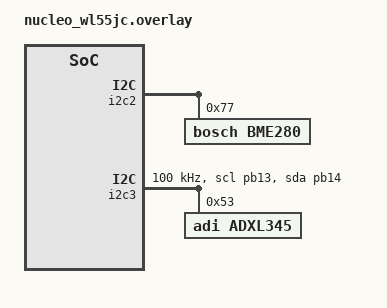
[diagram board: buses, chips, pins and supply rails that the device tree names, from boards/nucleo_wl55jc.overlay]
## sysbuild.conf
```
# Sysbuild configuration file for FUOTA with sensors

# Enable MCUboot
SB_CONFIG_BOOTLOADER_MCUBOOT=y

# Configure key type
SB_CONFIG_BOOT_SIGNATURE_TYPE_ECDSA_P256=y

# Enable multi-image mode for FUOTA (slot0 and slot1)
SB_CONFIG_MCUBOOT_MODE_SINGLE_APP=n
```

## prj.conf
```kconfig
# General Zephyr settings
CONFIG_MAIN_STACK_SIZE=2048
CONFIG_SYSTEM_WORKQUEUE_STACK_SIZE=2048
CONFIG_THREAD_NAME=n

# Logging Setup
CONFIG_LOG=y
# Global default to ERROR only to save space
CONFIG_LOG_DEFAULT_LEVEL=1
# Use Minimal logging (smallest possible footprint)
CONFIG_LOG_MODE_MINIMAL=y
CONFIG_LOG_MODE_IMMEDIATE=n
CONFIG_LOG_BUFFER_SIZE=0
CONFIG_LOG_PROCESS_THREAD=n

# Space Optimizations
CONFIG_SIZE_OPTIMIZATIONS=y
CONFIG_ASSERT=n
CONFIG_NO_OPTIMIZATIONS=n
CONFIG_BOOT_BANNER=n
CONFIG_CBPRINTF_NANO=y
# Disable features not strictly needed
CONFIG_DEBUG=n
CONFIG_THREAD_MONITOR=n

# LoRa PHY
CONFIG_LORA=y

# NVS required to store LoRaWAN DevNonce
CONFIG_NVS=y
CONFIG_SETTINGS=y
CONFIG_SETTINGS_NVS=y

# Random number generator required for several LoRaWAN services
CONFIG_ENTROPY_GENERATOR=y

# LoRaWAN application layer
CONFIG_LORAWAN=y
CONFIG_LORAWAN_LOG_LEVEL_INF=y
CONFIG_LORAMAC_REGION_US915=y
CONFIG_LORAWAN_NVM_SETTINGS=y

# LoRaWAN services required for FUOTA
CONFIG_LORAWAN_SERVICES=y
CONFIG_LORAWAN_SERVICES_LOG_LEVEL_INF=y
CONFIG_LORAWAN_APP_CLOCK_SYNC=y
CONFIG_LORAWAN_REMOTE_MULTICAST=y
CONFIG_LORAWAN_FRAG_TRANSPORT=y


# Flash driver to store firmware image
CONFIG_FLASH=y
CONFIG_FLASH_MAP=y
CONFIG_FLASH_PAGE_LAYOUT=y
CONFIG_STREAM_FLASH=y
CONFIG_IMG_MANAGER=y

# Reboot support to switch to new image
CONFIG_REBOOT=y

# MCUboot settings
CONFIG_MCUBOOT_GENERATE_UNSIGNED_IMAGE=y

# Disable unused features to save space
CONFIG_CPP=n
CONFIG_STATS=n
CONFIG_SHELL=n

# Console/Serial
CONFIG_SERIAL=y
CONFIG_CONSOLE=y
CONFIG_UART_CONSOLE=y
CONFIG_PRINTK=y


# Sensor Configuration
CONFIG_GPIO=y
CONFIG_I2C=y
CONFIG_SENSOR=y
CONFIG_SENSOR_ASYNC_API=y
CONFIG_BME280=y
CONFIG_ADXL345=y
```

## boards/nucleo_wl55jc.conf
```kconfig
# use fixed frag size (min and max 232 bytes) to avoid RAM overflow
CONFIG_LORAWAN_FRAG_TRANSPORT_MIN_FRAG_SIZE=232

# alternatively, the redundancy could be reduced
# CONFIG_LORAWAN_FRAG_TRANSPORT_MAX_REDUNDANCY=7
```

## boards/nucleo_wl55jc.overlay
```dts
/* 
 * Devicetree overlay for dual sensor setup on Nucleo WL55JC1 with FUOTA support
 * - BME280 on I2C2 (PA11/PA12) - Temperature, Pressure, Humidity
 * - ADXL345 on I2C3 (PB13/PB14) - Accelerometer
 * - Flash partition layout for FUOTA
 */

/* BME280 on I2C2 (pre-configured on this board) */
&i2c2 {
    bme280@77 {
        compatible = "bosch,bme280";
        reg = <0x77>;
        status = "okay";
    };
};

/* ADXL345 on I2C3 with custom pinctrl */
&i2c3 {
    status = "okay";
    pinctrl-0 = <&i2c3_scl_pb13 &i2c3_sda_pb14>;
    pinctrl-names = "default";
    clock-frequency = <100000>;
    
    adxl345@53 {
        compatible = "adi,adxl345";
        reg = <0x53>;
        status = "okay";
    };
};

/* Pinctrl definitions for I2C3 on STM32WL55JC1 */
&pinctrl {
    i2c3_scl_pb13: i2c3_scl_pb13 {
        pinmux = <STM32_PINMUX('B', 13, AF4)>;
        bias-pull-up;
        drive-open-drain;
    };
    
    i2c3_sda_pb14: i2c3_sda_pb14 {
        pinmux = <STM32_PINMUX('B', 14, AF4)>;
        bias-pull-up;
        drive-open-drain;
    };
};

/* 
 * Flash partition layout for STM32WL55JC (256KB total flash)
 * Must match the MCUboot overlay partition layout
 * Layout: 36KB boot + 102KB slot0 + 102KB slot1 + 8KB storage + 8KB scratch = 256KB
 */
&flash0 {
    /* Delete existing partitions node to avoid conflicts */
    /delete-node/ partitions;
    
    partitions {
        compatible = "fixed-partitions";
        #address-cells = <1>;
        #size-cells = <1>;

        /* MCUboot bootloader - 30KB at base address */
        boot_partition: partition@0 {
            label = "mcuboot";
            reg = <0x00000000 DT_SIZE_K(30)>;
        };

        /* Primary application slot (slot0) - 109KB */
        slot0_partition: partition@7800 {
            label = "image-0";
            reg = <0x00007800 DT_SIZE_K(109)>;
        };

        /* Secondary application slot (slot1) - 109KB */
        slot1_partition: partition@22C00 {
            label = "image-1";
            reg = <0x00022C00 DT_SIZE_K(109)>;
        };

        /* Storage for NVS (LoRaWAN settings) - 4KB */
        storage_partition: partition@3E000 {
            label = "storage";
            reg = <0x0003E000 DT_SIZE_K(4)>;
        };

        /* Scratch area for image swapping - 4KB */
        scratch_partition: partition@3F000 {
            label = "image-scratch";
            reg = <0x0003F000 DT_SIZE_K(4)>;
        };
    };
};
```

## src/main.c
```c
/*
 * LoRaWAN FUOTA sample application with BME280 and ADXL345 sensors
 *
 * Copyright (c) 2022-2024 Libre Solar Technologies GmbH
 * Copyright (c) 2022-2024 tado GmbH
 *
 * SPDX-License-Identifier: Apache-2.0
 */

#include <zephyr/device.h>
#include <zephyr/kernel.h>
#include <zephyr/logging/log.h>
#include <zephyr/lorawan/lorawan.h>

#include <zephyr/dfu/mcuboot.h>
#include <zephyr/sys/reboot.h>

// testing printk
#include <zephyr/sys/printk.h>

// Sensor API
#include <zephyr/devicetree.h>
#include <zephyr/drivers/sensor.h>
#include <zephyr/drivers/sensor_data_types.h>
#include <zephyr/rtio/rtio.h>
#include <zephyr/dsp/print_format.h>



LOG_MODULE_REGISTER(lorawan_fuota, CONFIG_LORAWAN_SERVICES_LOG_LEVEL);


// nucleo -1
/* Customize based on device configuration */
// #define LORAWAN_DEV_EUI  { 0x70, 0xB3, 0xD5, 0x7E, 0xD0, 0x07, 0x3C, 0xC0 }
// #define LORAWAN_JOIN_EUI { 0x00, 0x80, 0xE1, 0x15, 0x06, 0x1D, 0x9F, 0x39 }
// #define LORAWAN_APP_KEY  { 0x3D, 0xBF, 0x23, 0xF7, 0x33, 0xA4, 0x89, 0x19, 0xA4, 0x5A, 0x7F, 0xC6, 0x49, 0xFC, 0x64, 0xE9 }

// nucleo -2
#define LORAWAN_DEV_EUI  { 0x70, 0xB3, 0xD5, 0x7E, 0xD0, 0x07, 0x43, 0xCC }
#define LORAWAN_JOIN_EUI { 0x00, 0x80, 0xE1, 0x15, 0x06, 0x1D, 0xA7, 0x0F }
#define LORAWAN_APP_KEY  { 0xED, 0x5F, 0x2B, 0x36, 0x51, 0x6B, 0xC7, 0x8B, 0x65, 0xCA, 0x64, 0x4B, 0x3F, 0xAE, 0xE0, 0x9B }

#define DELAY K_SECONDS(2)

char data[] = {'d', 'a', 't', 'a', ' ', 's', 'e', 'n', 'd'};

/* ==================== BME280 Setup ==================== */
const struct device *const bme280_dev = DEVICE_DT_GET_ANY(bosch_bme280);

SENSOR_DT_READ_IODEV(bme280_iodev, DT_COMPAT_GET_ANY_STATUS_OKAY(bosch_bme280),
        {SENSOR_CHAN_AMBIENT_TEMP, 0},
        {SENSOR_CHAN_HUMIDITY, 0},
        {SENSOR_CHAN_PRESS, 0});

RTIO_DEFINE(bme280_ctx, 1, 1);

/* ==================== ADXL345 Setup ==================== */
const struct device *const adxl345_dev = DEVICE_DT_GET_ANY(adi_adxl345);

/* ==================== Device Initialization ==================== */

/**
 * Initialize and verify BME280 sensor
 * Returns the device pointer or NULL if initialization failed
 */
static const struct device *init_bme280(void)
{
    if (bme280_dev == NULL) {
        LOG_ERR("BME280: Device not found in devicetree. Check overlay configuration.");
        return NULL;
    }

    if (!device_is_ready(bme280_dev)) {
        LOG_ERR("BME280: Device '%s' is not ready.", bme280_dev->name);
        return NULL;
    }

    LOG_INF("BME280: Initialized on I2C2 (PA11/PA12)");
    return bme280_dev;
}

/**
 * Initialize and verify ADXL345 sensor
 * Returns the device pointer or NULL if initialization failed
 */
static const struct device *init_adxl345(void)
{
    if (adxl345_dev == NULL) {
        LOG_ERR("ADXL345: Device not found in devicetree. Check overlay configuration.");
        return NULL;
    }

    if (!device_is_ready(adxl345_dev)) {
        LOG_ERR("ADXL345: Device '%s' is not ready.", adxl345_dev->name);
        return NULL;
    }

    LOG_INF("ADXL345: Initialized on I2C3 (PB13/PB14)");
    return adxl345_dev;
}

/* ==================== Sensor Reading Functions ==================== */

/**
 * Read BME280 sensor data (Temperature, Pressure, Humidity)
 * Returns 0 on success, error code on failure
 */
static int read_bme280_data(struct sensor_q31_data *temp_data,
                            struct sensor_q31_data *press_data,
                            struct sensor_q31_data *hum_data)
{
    uint8_t buf[128];
    
    /* Read sensor data asynchronously using RTIO */
    int rc = sensor_read(&bme280_iodev, &bme280_ctx, buf, sizeof(buf));
    if (rc != 0) {
        LOG_ERR("BME280: sensor_read() failed: %d", rc);
        return rc;
    }

    /* Get the decoder API */
    const struct sensor_decoder_api *decoder;
    rc = sensor_get_decoder(bme280_dev, &decoder);
    if (rc != 0) {
        LOG_ERR("BME280: sensor_get_decoder() failed: %d", rc);
        return rc;
    }

    /* Decode temperature data */
    uint32_t temp_fit = 0;
    decoder->decode(buf,
                    (struct sensor_chan_spec){SENSOR_CHAN_AMBIENT_TEMP, 0},
                    &temp_fit, 1, temp_data);

    /* Decode pressure data */
    uint32_t press_fit = 0;
    decoder->decode(buf,
                    (struct sensor_chan_spec){SENSOR_CHAN_PRESS, 0},
                    &press_fit, 1, press_data);

    /* Decode humidity data */
    uint32_t hum_fit = 0;
    decoder->decode(buf,
                    (struct sensor_chan_spec){SENSOR_CHAN_HUMIDITY, 0},
                    &hum_fit, 1, hum_data);

    return 0;
}

/**
 * Read ADXL345 sensor data (X, Y, Z acceleration)
 * Returns 0 on success, error code on failure
 */
static int read_adxl345_data(struct sensor_value accel[3])
{
    /* Fetch sample from the sensor */
    int rc = sensor_sample_fetch(adxl345_dev);
    if (rc != 0) {
        LOG_ERR("ADXL345: sensor_sample_fetch() failed: %d", rc);
        return rc;
    }

    /* Get acceleration data for all three axes */
    rc = sensor_channel_get(adxl345_dev, SENSOR_CHAN_ACCEL_X, &accel[0]);
    if (rc != 0) {
        LOG_ERR("ADXL345: sensor_channel_get(ACCEL_X) failed: %d", rc);
        return rc;
    }

    rc = sensor_channel_get(adxl345_dev, SENSOR_CHAN_ACCEL_Y, &accel[1]);
    if (rc != 0) {
        LOG_ERR("ADXL345: sensor_channel_get(ACCEL_Y) failed: %d", rc);
        return rc;
    }

    rc = sensor_channel_get(adxl345_dev, SENSOR_CHAN_ACCEL_Z, &accel[2]);
    if (rc != 0) {
        LOG_ERR("ADXL345: sensor_channel_get(ACCEL_Z) failed: %d", rc);
        return rc;
    }

    return 0;
}

/**
 * Pack sensor data into binary payload
 * Payload format (12 bytes):
 * - temp_x100 (2 bytes): Temperature * 100, range -327.68 ~ +327.67 °C
 * - hum_x100 (2 bytes): Humidity * 100, range 0 ~ 655.35 %
 * - press_x10 (2 bytes): Pressure * 10, e.g. 1013.2 hPa → 10132
 * - accel_x (2 bytes): X acceleration * 1000 (m/s²)
 * - accel_y (2 bytes): Y acceleration * 1000 (m/s²)
 * - accel_z (2 bytes): Z acceleration * 1000 (m/s²)
 * Returns the payload size
 */
static int pack_sensor_payload(struct sensor_q31_data *temp_data,
                               struct sensor_q31_data *hum_data,
                               struct sensor_q31_data *press_data,
                               struct sensor_value accel[3],
                               uint8_t *payload)
{
<<<<<<< HEAD:fuota_with_sensor/src/main.c
    /* Convert Q31 sensor values to fixed-point x1000 without float */
    /* Q31 means value is scaled by 2^31. */
    /* We want (value / 2^31) * 1000 => (value * 1000) / 2^31 */
    /* Use int64_t to prevent overflow during multiplication */
=======
    
    /* The raw sensor values are in Q31-like format with different shift values
     * Analysis from debug data:
     * temp_raw=800522, shift=16, Display: 24.43°C
     *   → 800522/2^16 = 12.21, display shows 24.43 (exactly 2x!)
     *   → So: actual_temp = temp_raw / 2^(shift-1)
     * 
     * hum_raw=39609, shift=21, Display: 38.68%
     *   → 39609/2^21 = 0.01887, but display shows 38.68
     *   → Factor needed: 38.68 / 0.01887 ≈ 2049 ≈ 2^11
     *   → So: actual_hum = hum_raw * 2^11 / 2^21 = hum_raw / 2^10
     * 
     * press_raw=25964, shift=23, Display: 101.42 Pa (actually hPa?)
     *   → 25964/2^23 = 0.00309, display shows 101.42
     *   → Factor needed: 101.42 / 0.00309 ≈ 32817 ≈ 2^15
     *   → So: actual_press = press_raw * 2^15 / 2^23 = press_raw / 2^8
     */
    
    /* Get raw Q31 values */
    int32_t temp_raw = temp_data->readings[0].temperature;
    int32_t hum_raw = hum_data->readings[0].humidity;
    int32_t press_raw = press_data->readings[0].pressure;
    
    /* Convert using the discovered relationships */
    float temp_c = (float)temp_raw / (1LL << (temp_data->shift - 1));    // 2x larger scale
    float humidity = (float)hum_raw / (1LL << (hum_data->shift - 11));   // Correct scale for %
    float pressure = (float)press_raw / (1LL << (press_data->shift - 15)); // Correct scale for Pa
>>>>>>> ff6ee73 (save local changes):fuota_with_sensor_backup/src/main.c
    
    int16_t temp_x1000 = (int16_t)(((int64_t)temp_data->readings[0].temperature * 1000) / 2147483648LL);
    int16_t hum_x1000 = (int16_t)(((int64_t)hum_data->readings[0].humidity * 1000) / 2147483648LL);
    int16_t press_x1000 = (int16_t)(((int64_t)press_data->readings[0].pressure * 1000) / 2147483648LL);

<<<<<<< HEAD:fuota_with_sensor/src/main.c
    /* Convert standard sensor values to fixed-point x1000 without float */
    /* sensor_value has val1 (int) and val2 (micro, /1,000,000) */
    /* val * 1000 = val1 * 1000 + val2 / 1000 */
    
    int16_t accel_x_1000 = (int16_t)(accel[0].val1 * 1000 + accel[0].val2 / 1000);
    int16_t accel_y_1000 = (int16_t)(accel[1].val1 * 1000 + accel[1].val2 / 1000);
    int16_t accel_z_1000 = (int16_t)(accel[2].val1 * 1000 + accel[2].val2 / 1000);
=======
    /* Convert to fixed-point integers for transmission
     * temp_c should be ~24.43 → temp_x100 = 2443
     * humidity should be ~38.68 → hum_x100 = 3868
     * pressure should be ~101.42 Pa → but typically we use hPa, so /100 first, then *10
     *   or just multiply the Pa value by 10: 101.42*10 = 1014.2 → press_x10 = 1014
     */
    int16_t temp_x100 = (int16_t)(temp_c * 100);        // temp in °C * 100
    uint16_t hum_x100 = (uint16_t)(humidity * 100);     // humidity in % * 100
    uint16_t press_x10 = (uint16_t)(pressure * 10);     // pressure in Pa * 10
    int16_t accel_x_1000 = (int16_t)(accel_x_f * 1000); // X acceleration * 1000
    int16_t accel_y_1000 = (int16_t)(accel_y_f * 1000); // Y acceleration * 1000
    int16_t accel_z_1000 = (int16_t)(accel_z_f * 1000); // Z acceleration * 1000

    /* Debug log the packed values */
    LOG_INF("DEBUG PACKED: temp_x100=%d, hum_x100=%u, press_x10=%u", temp_x100, hum_x100, press_x10);
>>>>>>> ff6ee73 (save local changes):fuota_with_sensor_backup/src/main.c

    /* Pack into binary payload (12 bytes) */
    payload[0] = (uint8_t)(temp_x100 >> 8);
    payload[1] = (uint8_t)(temp_x100 & 0xFF);
    payload[2] = (uint8_t)(hum_x100 >> 8);
    payload[3] = (uint8_t)(hum_x100 & 0xFF);
    payload[4] = (uint8_t)(press_x10 >> 8);
    payload[5] = (uint8_t)(press_x10 & 0xFF);
    payload[6] = (uint8_t)(accel_x_1000 >> 8);
    payload[7] = (uint8_t)(accel_x_1000 & 0xFF);
    payload[8] = (uint8_t)(accel_y_1000 >> 8);
    payload[9] = (uint8_t)(accel_y_1000 & 0xFF);
    payload[10] = (uint8_t)(accel_z_1000 >> 8);
    payload[11] = (uint8_t)(accel_z_1000 & 0xFF);

    return 12; /* 12 bytes total */
}

static void downlink_info(uint8_t port, uint8_t flags, int16_t rssi, int8_t snr, uint8_t len,
			  const uint8_t *data)
{
	LOG_INF("Received from port %d, flags %d, RSSI %ddB, SNR %ddBm", port, flags, rssi, snr);
	if (data) {
		LOG_HEXDUMP_INF(data, len, "Payload: ");
	}
}

static void datarate_changed(enum lorawan_datarate dr)
{
	uint8_t unused, max_size;

	lorawan_get_payload_sizes(&unused, &max_size);
	LOG_INF("New Datarate: DR %d, Max Payload %d", dr, max_size);
}

static void fuota_finished(void)
{
	LOG_INF("FUOTA finished. Reset device to apply firmware upgrade.");

	/*
	 * In an actual application the firmware should be rebooted here if
	 * no important tasks are pending
	 */

	int rc = boot_request_upgrade(BOOT_UPGRADE_PERMANENT);
    if (rc) {
        printk("boot_request_upgrade failed: %d\n", rc);
        return;
    }

    k_msleep(100);
    sys_reboot(SYS_REBOOT_COLD);
	
}

int main(void)
{

	printk("FUOTA app booting...\n");

	const struct device *lora_dev;
	struct lorawan_join_config join_cfg;
	uint8_t dev_eui[] = LORAWAN_DEV_EUI; 
	uint8_t join_eui[] = LORAWAN_JOIN_EUI;
	uint8_t app_key[] = LORAWAN_APP_KEY;
	int ret;

	struct lorawan_downlink_cb downlink_cb = {
		.port = LW_RECV_PORT_ANY,
		.cb = downlink_info
	};

	/* Initialize sensors */
	const struct device *bme280 = init_bme280();
	const struct device *adxl345 = init_adxl345();

	if (bme280 == NULL || adxl345 == NULL) {
		LOG_ERR("Failed to initialize sensors. Continuing with LoRaWAN setup.");
	}

	lora_dev = DEVICE_DT_GET(DT_ALIAS(lora0));
	if (!device_is_ready(lora_dev)) {
		LOG_ERR("%s: device not ready.", lora_dev->name);
		return -ENODEV;
	}

	ret = lorawan_start();
	if (ret < 0) {
		LOG_ERR("lorawan_start failed: %d", ret);
		return ret;
	}

	lorawan_register_downlink_callback(&downlink_cb);
	lorawan_register_dr_changed_callback(datarate_changed);

	join_cfg.mode = LORAWAN_ACT_OTAA;
	join_cfg.dev_eui = dev_eui;
	join_cfg.otaa.join_eui = join_eui;
	join_cfg.otaa.app_key = app_key;
	join_cfg.otaa.nwk_key = app_key;

	LOG_INF("Joining network over OTAA");
	ret = lorawan_join(&join_cfg);
	if (ret < 0) {
		LOG_ERR("lorawan_join_network failed: %d", ret);
		return ret;
	}

	lorawan_enable_adr(true);

	/*
	 * Clock synchronization is required to schedule the multicast session
	 * in class C mode. It can also be used independent of FUOTA.
	 */
	lorawan_clock_sync_run();

	/*
	 * The multicast session setup service is automatically started in the
	 * background. It is also responsible for switching to class C at a
	 * specified time.
	 */

	/*
	 * The fragmented data transport transfers the actual firmware image.
	 * It could also be used in a class A session, but would take very long
	 * in that case.
	 */
	lorawan_frag_transport_run(fuota_finished);

	/*
	 * Regular uplinks are required to open downlink slots in class A for
	 * FUOTA setup by the server.
	 */
	while (1) {
		/* Try to read and send sensor data */
		if (bme280 != NULL && adxl345 != NULL) {
			struct sensor_q31_data temp_data = {0};
			struct sensor_q31_data press_data = {0};
			struct sensor_q31_data hum_data = {0};
			struct sensor_value accel[3] = {0};

			/* Read BME280 data */
			int rc_bme280 = read_bme280_data(&temp_data, &press_data, &hum_data);
			
			/* Read ADXL345 data */
			int rc_adxl345 = read_adxl345_data(accel);

			if (rc_bme280 == 0 && rc_adxl345 == 0) {
            LOG_INF("[BME280] Temp: %s%d.%d Degree | Pressure: %s%d.%d Pa | Humidity: %s%d.%d %%",
                    PRIq_arg(temp_data.readings[0].temperature, 6, temp_data.shift),
                    PRIq_arg(press_data.readings[0].pressure, 6, press_data.shift),
                    PRIq_arg(hum_data.readings[0].humidity, 6, hum_data.shift));
            
            LOG_INF("[ADXL345] Accel X: %d.%06d m/s*s | Y: %d.%06d m/s*s | Z: %d.%06d m/s*s",
                    accel[0].val1, accel[0].val2,
                    accel[1].val1, accel[1].val2,
                    accel[2].val1, accel[2].val2);
            
            LOG_INF("---");
        	} else {
            	if (rc_bme280 != 0) {
                	LOG_ERR("BME280 read failed with code %d", rc_bme280);
            	}
            	if (rc_adxl345 != 0) {
            	    LOG_ERR("ADXL345 read failed with code %d", rc_adxl345);
            	}
        	}

			/* Pack and send sensor data if both readings were successful */
			if (rc_bme280 == 0 && rc_adxl345 == 0) {
				uint8_t sensor_payload[12];
				int payload_size = pack_sensor_payload(&temp_data, &hum_data, &press_data,
														accel, sensor_payload);

				ret = lorawan_send(2, sensor_payload, payload_size, LORAWAN_MSG_UNCONFIRMED);

				if (ret == 0) {
					LOG_INF("Sensor data sent!");
				} else {
					LOG_ERR("lorawan_send (sensor) failed: %d", ret);
				}
			} else {
				if (rc_bme280 != 0) {
					LOG_ERR("BME280 read failed: %d", rc_bme280);
				}
				if (rc_adxl345 != 0) {
					LOG_ERR("ADXL345 read failed: %d", rc_adxl345);
				}
			}
		} else {
			/* Fallback to original data if sensors not available */
			ret = lorawan_send(2, data, sizeof(data), LORAWAN_MSG_UNCONFIRMED);

			if (ret == 0) {
				LOG_INF("Updated sent!");
			} else {
				LOG_ERR("lorawan_send failed: %d", ret);
			}
		}



		k_sleep(DELAY);
	}

	return 0;
}
```
